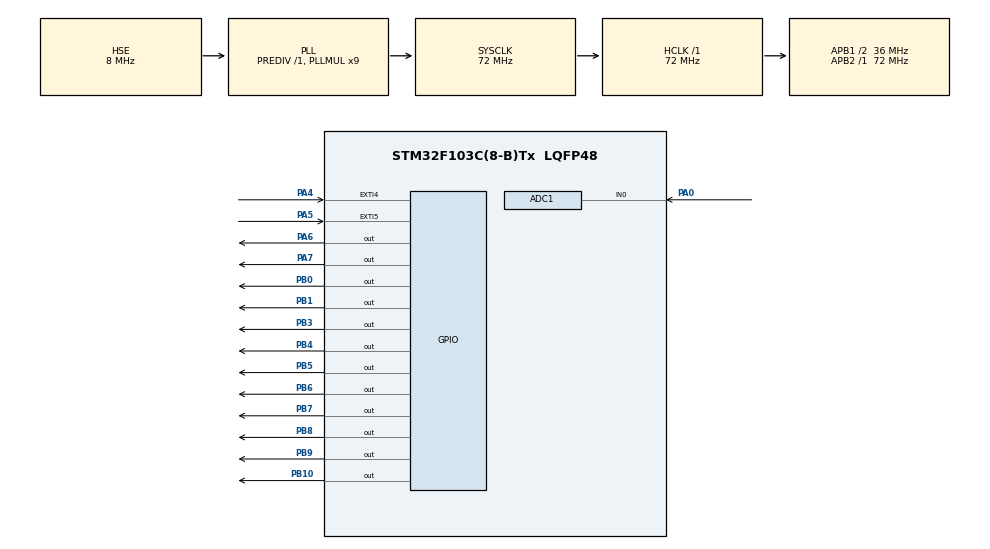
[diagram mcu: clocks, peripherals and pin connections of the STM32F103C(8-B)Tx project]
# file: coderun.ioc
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ADC1.Channel-0\#ChannelRegularConversion=ADC_CHANNEL_0
ADC1.ContinuousConvMode=ENABLE
ADC1.NbrOfConversion=1
ADC1.NbrOfConversionFlag=1
ADC1.Rank-0\#ChannelRegularConversion=1
ADC1.SamplingTime-0\#ChannelRegularConversion=ADC_SAMPLETIME_1CYCLE_5
ADC1.master=1
Mcu.Family=STM32F1
Mcu.Name=STM32F103C(8-B)Tx
Mcu.Package=LQFP48
NVIC.EXTI4_IRQn=true\:0\:0\:false\:false\:true\:true\:true\:true
NVIC.EXTI9_5_IRQn=true\:0\:0\:false\:false\:true\:true\:true\:true
NVIC.PriorityGroup=NVIC_PRIORITYGROUP_4
NVIC.TIM2_IRQn=true\:0\:0\:false\:false\:true\:true\:true\:true
PA0-WKUP.Signal=ADCx_IN0
PA13.Mode=Serial_Wire
PA13.Signal=SYS_JTMS-SWDIO
PA14.Mode=Serial_Wire
PA14.Signal=SYS_JTCK-SWCLK
PA4.GPIO_ModeDefaultEXTI=GPIO_MODE_IT_FALLING
PA4.GPIO_PuPd=GPIO_PULLUP
PA4.Signal=GPXTI4
PA5.GPIO_ModeDefaultEXTI=GPIO_MODE_IT_FALLING
PA5.GPIO_PuPd=GPIO_PULLUP
PA5.Signal=GPXTI5
PA6.PinState=GPIO_PIN_SET
PA6.Signal=GPIO_Output
PA7.PinState=GPIO_PIN_SET
PA7.Signal=GPIO_Output
PB0.PinState=GPIO_PIN_SET
PB0.Signal=GPIO_Output
PB1.PinState=GPIO_PIN_SET
PB1.Signal=GPIO_Output
PB10.PinState=GPIO_PIN_SET
PB10.Signal=GPIO_Output
PB3.PinState=GPIO_PIN_SET
PB3.Signal=GPIO_Output
PB4.PinState=GPIO_PIN_SET
PB4.Signal=GPIO_Output
PB5.PinState=GPIO_PIN_SET
PB5.Signal=GPIO_Output
PB6.PinState=GPIO_PIN_SET
PB6.Signal=GPIO_Output
PB7.PinState=GPIO_PIN_SET
PB7.Signal=GPIO_Output
PB8.PinState=GPIO_PIN_SET
PB8.Signal=GPIO_Output
PB9.PinState=GPIO_PIN_SET
PB9.Signal=GPIO_Output
PD0-OSC_IN.Mode=HSE-External-Oscillator
PD0-OSC_IN.Signal=RCC_OSC_IN
PD1-OSC_OUT.Mode=HSE-External-Oscillator
PD1-OSC_OUT.Signal=RCC_OSC_OUT
ProjectManager.HeapSize=0x200
ProjectManager.StackSize=0x400
ProjectManager.TargetToolchain=STM32CubeIDE
RCC.ADCPresc=RCC_ADCPCLK2_DIV6
RCC.AHBFreq_Value=72000000
RCC.APB1CLKDivider=RCC_HCLK_DIV2
RCC.APB1Freq_Value=36000000
RCC.APB1TimFreq_Value=72000000
RCC.APB2Freq_Value=72000000
RCC.APB2TimFreq_Value=72000000
RCC.HCLKFreq_Value=72000000
RCC.PLLMUL=RCC_PLL_MUL9
RCC.PLLSourceVirtual=RCC_PLLSOURCE_HSE
RCC.SYSCLKFreq_VALUE=72000000
RCC.SYSCLKSource=RCC_SYSCLKSOURCE_PLLCLK
RCC.USBFreq_Value=72000000
SH.ADCx_IN0.0=ADC1_IN0,IN0
TIM2.Period=35999
TIM2.Prescaler=1
VP_TIM2_VS_ClockSourceINT.Mode=Internal
board=custom

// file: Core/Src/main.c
/* USER CODE BEGIN Header */
/**
  ******************************************************************************
  * @file           : main.c
  * @brief          : Main program body
  ******************************************************************************
  * @attention
  *
  * Copyright (c) 2026 STMicroelectronics.
  * All rights reserved.
  *
  * This software is licensed under terms that can be found in the LICENSE file
  * in the root directory of this software component.
  * If no LICENSE file comes with this software, it is provided AS-IS.
  *
  ******************************************************************************
  */
/* USER CODE END Header */
#include "main.h"

ADC_HandleTypeDef hadc1;

TIM_HandleTypeDef htim2;

/* USER CODE BEGIN PV */
const uint8_t seven_segment_digits[10][7] = {
		// a  b  c  d  e  f  g
		{ 0, 0, 0, 0, 0, 0, 1 }, // 0
		{ 1, 0, 0, 1, 1, 1, 1 }, // 1
		{ 0, 0, 1, 0, 0, 1, 0 }, // 2
		{ 0, 0, 0, 0, 1, 1, 0 }, // 3
		{ 1, 0, 0, 1, 1, 0, 0 }, // 4
		{ 0, 1, 0, 0, 1, 0, 0 }, // 5
		{ 0, 1, 0, 0, 0, 0, 0 }, // 6
		{ 0, 0, 0, 1, 1, 1, 1 }, // 7
		{ 0, 0, 0, 0, 0, 0, 0 }, // 8
		{ 0, 0, 0, 0, 1, 0, 0 }  // 9
		};

volatile uint8_t display_val[4] ={2, 0, 2, 6}; //initially displays 2026 for testing.
volatile uint32_t system_ms_ticks = 0;
volatile uint32_t game_start_time = 0;
volatile uint8_t start_game_flag = 0;
volatile uint8_t waiting_for_reaction = 0;

/* USER CODE END PV */

void SystemClock_Config(void);
static void MX_GPIO_Init(void);
static void MX_TIM2_Init(void);
static void MX_ADC1_Init(void);
/* USER CODE BEGIN PFP */
void refreshDisplay(void);

/* USER CODE END PFP */

/* USER CODE BEGIN 0 */
void refreshDisplay(void);
void write_display(int digit);
void updateDisplayNumber(uint16_t number);
uint32_t generateRandomDelay(void);
void startGame(void);
/* USER CODE END 0 */

int main(void)
{

  /* MCU Configuration--------------------------------------------------------*/

  /* Reset of all peripherals, Initializes the Flash interface and the Systick. */
  HAL_Init();

  /* Configure the system clock */
  SystemClock_Config();

  /* Initialize all configured peripherals */
  MX_GPIO_Init();
  MX_TIM2_Init();
  MX_ADC1_Init();
  /* USER CODE BEGIN 2 */
  HAL_TIM_Base_Start_IT(&htim2);
  //updateDisplayNumber(200);
  /* USER CODE END 2 */

  /* Infinite loop */
  while (1)
  {

    /* USER CODE BEGIN 3 */
	 if(start_game_flag == 1){
		  start_game_flag = 0;
		  startGame();
		  waiting_for_reaction = 1;

	  }
  }
  /* USER CODE END 3 */
}

void SystemClock_Config(void)
{
  RCC_OscInitTypeDef RCC_OscInitStruct = {0};
  RCC_ClkInitTypeDef RCC_ClkInitStruct = {0};
  RCC_PeriphCLKInitTypeDef PeriphClkInit = {0};

  /** Initializes the RCC Oscillators according to the specified parameters
  * in the RCC_OscInitTypeDef structure.
  */
  RCC_OscInitStruct.OscillatorType = RCC_OSCILLATORTYPE_HSE;
  RCC_OscInitStruct.HSEState = RCC_HSE_ON;
  RCC_OscInitStruct.HSEPredivValue = RCC_HSE_PREDIV_DIV1;
  RCC_OscInitStruct.HSIState = RCC_HSI_ON;
  RCC_OscInitStruct.PLL.PLLState = RCC_PLL_ON;
  RCC_OscInitStruct.PLL.PLLSource = RCC_PLLSOURCE_HSE;
  RCC_OscInitStruct.PLL.PLLMUL = RCC_PLL_MUL9;
  if (HAL_RCC_OscConfig(&RCC_OscInitStruct) != HAL_OK)
  {
    Error_Handler();
  }

  /** Initializes the CPU, AHB and APB buses clocks
  */
  RCC_ClkInitStruct.ClockType = RCC_CLOCKTYPE_HCLK|RCC_CLOCKTYPE_SYSCLK
                              |RCC_CLOCKTYPE_PCLK1|RCC_CLOCKTYPE_PCLK2;
  RCC_ClkInitStruct.SYSCLKSource = RCC_SYSCLKSOURCE_PLLCLK;
  RCC_ClkInitStruct.AHBCLKDivider = RCC_SYSCLK_DIV1;
  RCC_ClkInitStruct.APB1CLKDivider = RCC_HCLK_DIV2;
  RCC_ClkInitStruct.APB2CLKDivider = RCC_HCLK_DIV1;

  if (HAL_RCC_ClockConfig(&RCC_ClkInitStruct, FLASH_LATENCY_2) != HAL_OK)
  {
    Error_Handler();
  }
  PeriphClkInit.PeriphClockSelection = RCC_PERIPHCLK_ADC;
  PeriphClkInit.AdcClockSelection = RCC_ADCPCLK2_DIV6;
  if (HAL_RCCEx_PeriphCLKConfig(&PeriphClkInit) != HAL_OK)
  {
    Error_Handler();
  }
}

static void MX_ADC1_Init(void)
{

  ADC_ChannelConfTypeDef sConfig = {0};

  /** Common config
  */
  hadc1.Instance = ADC1;
  hadc1.Init.ScanConvMode = ADC_SCAN_DISABLE;
  hadc1.Init.ContinuousConvMode = ENABLE;
  hadc1.Init.DiscontinuousConvMode = DISABLE;
  hadc1.Init.ExternalTrigConv = ADC_SOFTWARE_START;
  hadc1.Init.DataAlign = ADC_DATAALIGN_RIGHT;
  hadc1.Init.NbrOfConversion = 1;
  if (HAL_ADC_Init(&hadc1) != HAL_OK)
  {
    Error_Handler();
  }

  /** Configure Regular Channel
  */
  sConfig.Channel = ADC_CHANNEL_0;
  sConfig.Rank = ADC_REGULAR_RANK_1;
  sConfig.SamplingTime = ADC_SAMPLETIME_1CYCLE_5;
  if (HAL_ADC_ConfigChannel(&hadc1, &sConfig) != HAL_OK)
  {
    Error_Handler();
  }

}

static void MX_TIM2_Init(void)
{

  TIM_ClockConfigTypeDef sClockSourceConfig = {0};
  TIM_MasterConfigTypeDef sMasterConfig = {0};

  htim2.Instance = TIM2;
  htim2.Init.Prescaler = 1;
  htim2.Init.CounterMode = TIM_COUNTERMODE_UP;
  htim2.Init.Period = 35999;
  htim2.Init.ClockDivision = TIM_CLOCKDIVISION_DIV1;
  htim2.Init.AutoReloadPreload = TIM_AUTORELOAD_PRELOAD_DISABLE;
  if (HAL_TIM_Base_Init(&htim2) != HAL_OK)
  {
    Error_Handler();
  }
  sClockSourceConfig.ClockSource = TIM_CLOCKSOURCE_INTERNAL;
  if (HAL_TIM_ConfigClockSource(&htim2, &sClockSourceConfig) != HAL_OK)
  {
    Error_Handler();
  }
  sMasterConfig.MasterOutputTrigger = TIM_TRGO_RESET;
  sMasterConfig.MasterSlaveMode = TIM_MASTERSLAVEMODE_DISABLE;
  if (HAL_TIMEx_MasterConfigSynchronization(&htim2, &sMasterConfig) != HAL_OK)
  {
    Error_Handler();
  }

}

static void MX_GPIO_Init(void)
{
  GPIO_InitTypeDef GPIO_InitStruct = {0};

  /* GPIO Ports Clock Enable */
  __HAL_RCC_GPIOD_CLK_ENABLE();
  __HAL_RCC_GPIOA_CLK_ENABLE();
  __HAL_RCC_GPIOB_CLK_ENABLE();

  /*Configure GPIO pin Output Level */
  HAL_GPIO_WritePin(GPIOA, GPIO_PIN_6|GPIO_PIN_7, GPIO_PIN_SET);

  /*Configure GPIO pin Output Level */
  HAL_GPIO_WritePin(GPIOB, GPIO_PIN_0|GPIO_PIN_1|GPIO_PIN_10|GPIO_PIN_3
                          |GPIO_PIN_4|GPIO_PIN_5|GPIO_PIN_6|GPIO_PIN_7
                          |GPIO_PIN_8|GPIO_PIN_9, GPIO_PIN_SET);

  /*Configure GPIO pins : PA4 PA5 */
  GPIO_InitStruct.Pin = GPIO_PIN_4|GPIO_PIN_5;
  GPIO_InitStruct.Mode = GPIO_MODE_IT_FALLING;
  GPIO_InitStruct.Pull = GPIO_PULLUP;
  HAL_GPIO_Init(GPIOA, &GPIO_InitStruct);

  /*Configure GPIO pins : PA6 PA7 */
  GPIO_InitStruct.Pin = GPIO_PIN_6|GPIO_PIN_7;
  GPIO_InitStruct.Mode = GPIO_MODE_OUTPUT_PP;
  GPIO_InitStruct.Pull = GPIO_NOPULL;
  GPIO_InitStruct.Speed = GPIO_SPEED_FREQ_LOW;
  HAL_GPIO_Init(GPIOA, &GPIO_InitStruct);

  /*Configure GPIO pins : PB0 PB1 PB10 PB3
                           PB4 PB5 PB6 PB7
                           PB8 PB9 */
  GPIO_InitStruct.Pin = GPIO_PIN_0|GPIO_PIN_1|GPIO_PIN_10|GPIO_PIN_3
                          |GPIO_PIN_4|GPIO_PIN_5|GPIO_PIN_6|GPIO_PIN_7
                          |GPIO_PIN_8|GPIO_PIN_9;
  GPIO_InitStruct.Mode = GPIO_MODE_OUTPUT_PP;
  GPIO_InitStruct.Pull = GPIO_NOPULL;
  GPIO_InitStruct.Speed = GPIO_SPEED_FREQ_LOW;
  HAL_GPIO_Init(GPIOB, &GPIO_InitStruct);

  /* EXTI interrupt init*/
  HAL_NVIC_SetPriority(EXTI4_IRQn, 0, 0);
  HAL_NVIC_EnableIRQ(EXTI4_IRQn);

  HAL_NVIC_SetPriority(EXTI9_5_IRQn, 0, 0);
  HAL_NVIC_EnableIRQ(EXTI9_5_IRQn);

}

/* USER CODE BEGIN 4 */

void refreshDisplay(void){
    static uint8_t current_digit = 0;

    // 1. Turn ALL digits OFF first
    HAL_GPIO_WritePin(GPIOA, GPIO_PIN_6, GPIO_PIN_SET);
    HAL_GPIO_WritePin(GPIOA, GPIO_PIN_7, GPIO_PIN_SET);
    HAL_GPIO_WritePin(GPIOB, GPIO_PIN_0, GPIO_PIN_SET);
    HAL_GPIO_WritePin(GPIOB, GPIO_PIN_1, GPIO_PIN_SET);

    uint8_t display = 1;

    // 2. Leading Zero Blanking Logic
    if (display_val[current_digit] == 0)
    {
        if (current_digit == 0)
        {
            display = 0; // Thousands place is 0 -> blank it
        }
        else if (current_digit == 1 && display_val[0] == 0)
        {
            display = 0; // Hundreds place is 0 AND thousands is 0 -> blank it
        }
        else if (current_digit == 2 && display_val[0] == 0 && display_val[1] == 0)
        {
            display = 0; // Tens place is 0 AND hundreds & thousands are 0 -> blank it
        }
        // index 3 (units) is always displayed even if it's 0
    }

    // 3. Only write segments AND activate the pin if display is allowed
    if (display)
    {
        write_display(current_digit);

        switch(current_digit)
        {
            case 0:
                HAL_GPIO_WritePin(GPIOA, GPIO_PIN_6, GPIO_PIN_RESET);
                break;
            case 1:
                HAL_GPIO_WritePin(GPIOA, GPIO_PIN_7, GPIO_PIN_RESET);
                break;
            case 2:
                HAL_GPIO_WritePin(GPIOB, GPIO_PIN_0, GPIO_PIN_RESET);
                break;
            case 3:
                HAL_GPIO_WritePin(GPIOB, GPIO_PIN_1, GPIO_PIN_RESET);
                break;
        }
    }

    current_digit++;
    if (current_digit > 3)
    {
        current_digit = 0;
    }
}

void write_display(int digit){
	uint8_t num = display_val[digit];
	for(int i = 3 ; i < 10 ; i++){
		HAL_GPIO_WritePin(GPIOB, 1<< i, seven_segment_digits[num][i-3]);
	}
}

void HAL_TIM_PeriodElapsedCallback(TIM_HandleTypeDef *htim){
	if(htim == &htim2){
		system_ms_ticks++;
		refreshDisplay();
	}
}

void updateDisplayNumber(uint16_t number){
	if(number > 9999)
		number = 9999;
	display_val[0] = (number / 1000) % 10;
	display_val[1] = (number / 100)  % 10;
	display_val[2] = (number / 10)   % 10;
	display_val[3] =  number         % 10;
}

uint32_t generateRandomDelay(void){
	uint32_t adc_value;

	uint32_t extra_delay;
	HAL_ADC_Start(&hadc1);
	HAL_ADC_PollForConversion(&hadc1, HAL_MAX_DELAY);
	adc_value = HAL_ADC_GetValue(&hadc1);
	extra_delay = (adc_value*5000)/4095;
	HAL_ADC_Stop(&hadc1,.[-]);
	return extra_delay;
}

void startGame(void){
	uint32_t total_delay = generateRandomDelay() +5000;
	uint32_t start_time = system_ms_ticks;

	while(system_ms_ticks - start_time < total_delay){

	}

	HAL_GPIO_WritePin(GPIOB, GPIO_PIN_10, GPIO_PIN_RESET);
	game_start_time = system_ms_ticks;
}

void HAL_GPIO_EXTI_Callback(uint16_t GPIO_Pin){
	if(GPIO_Pin == GPIO_PIN_4){
		updateDisplayNumber(0);
		start_game_flag = 1;
	}

	if (GPIO_Pin == GPIO_PIN_5){
		if (waiting_for_reaction == 1)
		        {
		            uint32_t reaction_time;

		            reaction_time = system_ms_ticks - game_start_time;

		            HAL_GPIO_WritePin(GPIOB, GPIO_PIN_10, GPIO_PIN_SET);

		            updateDisplayNumber(reaction_time);

		            waiting_for_reaction = 0;
		        }
	}
}

/* USER CODE END 4 */

void Error_Handler(void)
{
  __disable_irq();
  while (1)
  {
  }
}
